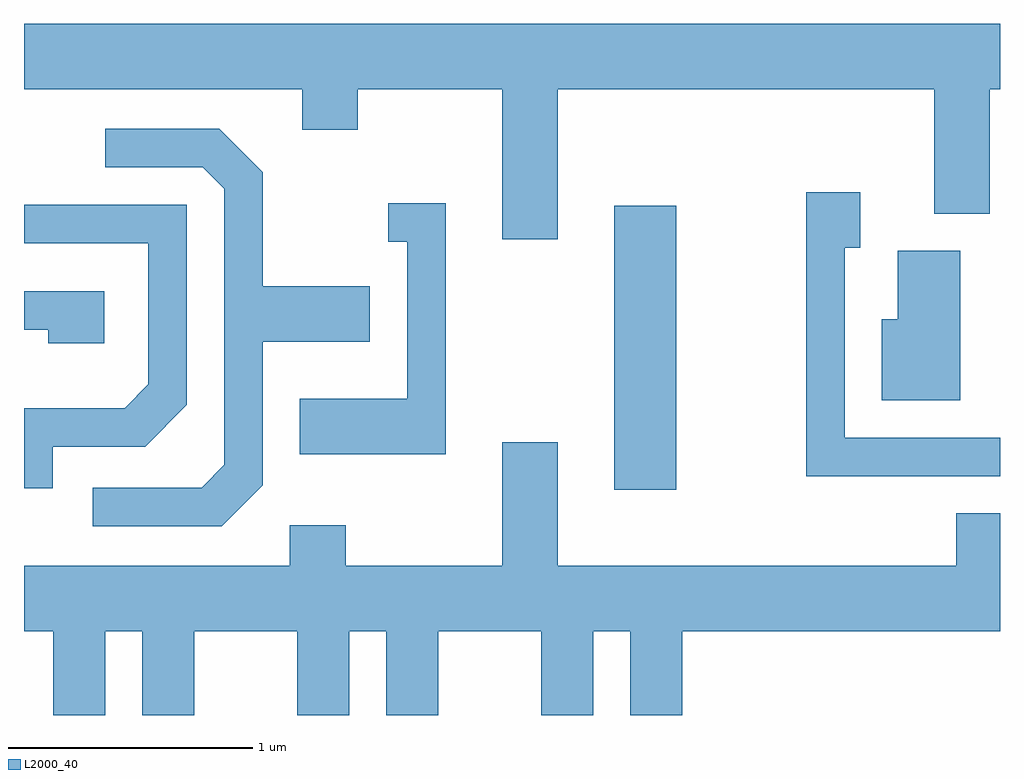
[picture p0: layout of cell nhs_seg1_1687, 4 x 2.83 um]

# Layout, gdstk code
import gdstk
lib = gdstk.Library(unit=1e-6, precision=1e-09)
def R(c, l, rs):  # rectangles x0, y0, x1, y1
    for r in rs: c.add(gdstk.rectangle(r[:2], r[2:], *l))
def P(c, l, *ps):  # polygons
    for p in ps: c.add(gdstk.Polygon(p, *l))
L2000_40 = (2000, 40)

nhs_seg1_1687 = lib.new_cell('nhs_seg1_1687')
R(nhs_seg1_1687, L2000_40, [(240.031,864.636,240.284,865.799)])
P(nhs_seg1_1687, L2000_40, [(239.799,866.276),(241.341,866.276),(241.341,865.766),(241.569,865.766),(241.569,866.276),(241.611,866.276),(241.611,866.544),(237.611,866.544),(237.611,866.276),(238.751,866.276),(238.751,866.111),(238.979,866.111),(238.979,866.276),(239.571,866.276),(239.571,865.661),(239.799,865.661)],
  [(238.589,864.654),(238.589,865.241),(239.029,865.241),(239.029,865.469),(238.589,865.469),(238.589,865.937),(238.412,866.114),(237.943,866.114),(237.943,865.956),(238.344,865.956),(238.431,865.869),(238.431,864.737),(238.339,864.644),(237.893,864.644),(237.893,864.486),(238.422,864.486)],
  [(241.611,864.849),(240.974,864.849),(240.974,865.626),(241.039,865.626),(241.039,865.854),(240.816,865.854),(240.816,864.691),(241.611,864.691)],
  [(239.339,865.809),(239.103,865.809),(239.103,865.651),(239.181,865.651),(239.181,865.009),(238.741,865.009),(238.741,864.781),(239.339,864.781)],
  [(237.729,864.811),(238.107,864.811),(238.279,864.984),(238.279,865.804),(237.611,865.804),(237.611,865.646),(238.121,865.646),(238.121,865.067),(238.024,864.969),(237.611,864.969),(237.611,864.641),(237.729,864.641)],
  [(241.449,865.614),(241.191,865.614),(241.191,865.334),(241.126,865.334),(241.126,865.001),(241.449,865.001)],
  [(237.939,865.449),(237.611,865.449),(237.611,865.291),(237.711,865.291),(237.711,865.236),(237.939,865.236)],
  [(237.944,864.056),(238.096,864.056),(238.096,863.712),(238.309,863.712),(238.309,864.056),(238.731,864.056),(238.731,863.712),(238.944,863.712),(238.944,864.056),(239.096,864.056),(239.096,863.712),(239.309,863.712),(239.309,864.056),(239.731,864.056),(239.731,863.712),(239.944,863.712),(239.944,864.056),(240.096,864.056),(240.096,863.712),(240.309,863.712),(240.309,864.056),(241.611,864.056),(241.611,864.539),(241.431,864.539),(241.431,864.324),(239.799,864.324),(239.799,864.829),(239.571,864.829),(239.571,864.324),(238.929,864.324),(238.929,864.489),(238.701,864.489),(238.701,864.324),(237.611,864.324),(237.611,864.056),(237.731,864.056),(237.731,863.712),(237.944,863.712)])

lib.write_gds('nhs_seg1_1687.gds')
